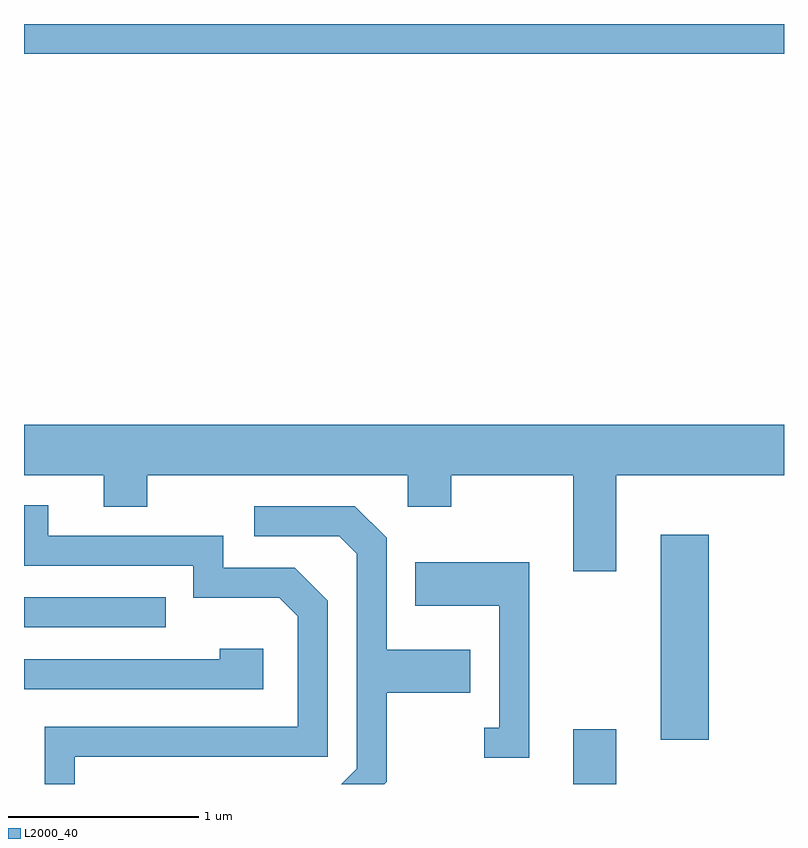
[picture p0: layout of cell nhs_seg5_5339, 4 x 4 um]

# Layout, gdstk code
import gdstk
lib = gdstk.Library(unit=1e-6, precision=1e-09)
def R(c, l, rs):  # rectangles x0, y0, x1, y1
    for r in rs: c.add(gdstk.rectangle(r[:2], r[2:], *l))
def P(c, l, *ps):  # polygons
    for p in ps: c.add(gdstk.Polygon(p, *l))
L2000_40 = (2000, 40)

nhs_seg5_5339 = lib.new_cell('nhs_seg5_5339')
R(nhs_seg5_5339, L2000_40, [(346.501,1444.072,346.729,1444.359), (346.961,1444.306,347.214,1445.384), (343.611,1444.896,344.358,1445.054), (343.611,1447.916,347.611,1448.072)])
P(nhs_seg5_5339, L2000_40, [(346.729,1445.696),(347.611,1445.696),(347.611,1445.964),(343.611,1445.964),(343.611,1445.696),(344.031,1445.696),(344.031,1445.531),(344.259,1445.531),(344.259,1445.696),(345.631,1445.696),(345.631,1445.531),(345.859,1445.531),(345.859,1445.696),(346.501,1445.696),(346.501,1445.191),(346.729,1445.191)],
  [(343.879,1444.216),(345.209,1444.216),(345.209,1445.037),(345.037,1445.209),(344.659,1445.209),(344.659,1445.379),(343.739,1445.379),(343.739,1445.539),(343.611,1445.539),(343.611,1445.221),(344.501,1445.221),(344.501,1445.051),(344.954,1445.051),(345.051,1444.954),(345.051,1444.374),(343.721,1444.374),(343.721,1444.072),(343.879,1444.072)],
  [(345.519,1444.084),(345.519,1444.551),(345.959,1444.551),(345.959,1444.779),(345.519,1444.779),(345.519,1445.367),(345.352,1445.534),(344.823,1445.534),(344.823,1445.376),(345.269,1445.376),(345.361,1445.284),(345.361,1444.152),(345.282,1444.072),(345.507,1444.072)],
  [(346.269,1445.239),(345.671,1445.239),(345.671,1445.011),(346.111,1445.011),(346.111,1444.369),(346.033,1444.369),(346.033,1444.211),(346.269,1444.211)],
  [(344.869,1444.784),(344.641,1444.784),(344.641,1444.729),(343.611,1444.729),(343.611,1444.571),(344.869,1444.571)])

lib.write_gds('nhs_seg5_5339.gds')
